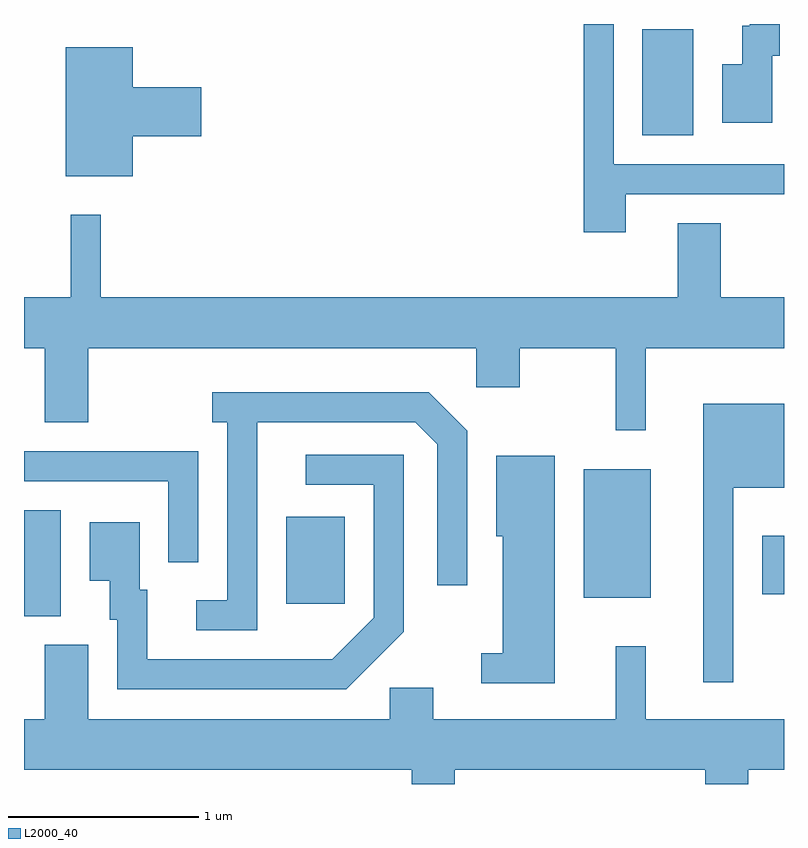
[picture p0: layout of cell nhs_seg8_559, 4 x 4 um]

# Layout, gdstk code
import gdstk
lib = gdstk.Library(unit=1e-6, precision=1e-09)
def R(c, l, rs):  # rectangles x0, y0, x1, y1
    for r in rs: c.add(gdstk.rectangle(r[:2], r[2:], *l))
def P(c, l, *ps):  # polygons
    for p in ps: c.add(gdstk.Polygon(p, *l))
L2000_40 = (2000, 40)

nhs_seg8_559 = lib.new_cell('nhs_seg8_559')
R(nhs_seg8_559, L2000_40, [(201.611,1837.226,201.804,1837.784), (202.991,1837.291,203.299,1837.749), (204.556,1837.321,204.909,1837.999), (205.496,1837.341,205.611,1837.649), (204.866,1839.756,205.134,1840.314)])
P(nhs_seg8_559, L2000_40, [(205.549,1840.176),(205.589,1840.176),(205.589,1840.342),(205.431,1840.342),(205.431,1840.334),(205.391,1840.334),(205.391,1840.129),(205.286,1840.129),(205.286,1839.821),(205.549,1839.821)],
  [(204.779,1839.446),(205.611,1839.446),(205.611,1839.604),(204.714,1839.604),(204.714,1840.342),(204.556,1840.342),(204.556,1839.246),(204.779,1839.246)],
  [(202.184,1839.751),(202.544,1839.751),(202.544,1840.009),(202.184,1840.009),(202.184,1840.219),(201.831,1840.219),(201.831,1839.541),(202.184,1839.541)],
  [(204.884,1838.636),(205.611,1838.636),(205.611,1838.904),(205.279,1838.904),(205.279,1839.294),(205.051,1839.294),(205.051,1838.904),(202.014,1838.904),(202.014,1839.338),(201.856,1839.338),(201.856,1838.904),(201.611,1838.904),(201.611,1838.636),(201.721,1838.636),(201.721,1838.246),(201.949,1838.246),(201.949,1838.636),(203.991,1838.636),(203.991,1838.431),(204.219,1838.431),(204.219,1838.636),(204.726,1838.636),(204.726,1838.203),(204.884,1838.203)],
  [(202.839,1838.246),(203.669,1838.246),(203.786,1838.129),(203.786,1837.388),(203.944,1837.388),(203.944,1838.202),(203.742,1838.404),(202.603,1838.404),(202.603,1838.246),(202.681,1838.246),(202.681,1837.309),(202.518,1837.309),(202.518,1837.151),(202.839,1837.151)],
  [(205.344,1837.901),(205.611,1837.901),(205.611,1838.344),(205.186,1838.344),(205.186,1836.878),(205.344,1836.878)],
  [(202.529,1838.094),(201.611,1838.094),(201.611,1837.936),(202.371,1837.936),(202.371,1837.508),(202.529,1837.508)],
  [(203.609,1837.144),(203.609,1838.074),(203.093,1838.074),(203.093,1837.916),(203.451,1837.916),(203.451,1837.217),(203.234,1836.999),(202.259,1836.999),(202.259,1837.364),(202.219,1837.364),(202.219,1837.719),(201.956,1837.719),(201.956,1837.411),(202.061,1837.411),(202.061,1837.206),(202.101,1837.206),(202.101,1836.841),(203.307,1836.841)],
  [(204.404,1838.069),(204.096,1838.069),(204.096,1837.646),(204.131,1837.646),(204.131,1837.029),(204.018,1837.029),(204.018,1836.871),(204.404,1836.871)],
  [(203.879,1836.416),(205.196,1836.416),(205.196,1836.342),(205.424,1836.342),(205.424,1836.416),(205.611,1836.416),(205.611,1836.684),(204.884,1836.684),(204.884,1837.068),(204.726,1837.068),(204.726,1836.684),(203.764,1836.684),(203.764,1836.849),(203.536,1836.849),(203.536,1836.684),(201.949,1836.684),(201.949,1837.074),(201.721,1837.074),(201.721,1836.684),(201.611,1836.684),(201.611,1836.416),(203.651,1836.416),(203.651,1836.342),(203.879,1836.342)])

lib.write_gds('nhs_seg8_559.gds')
